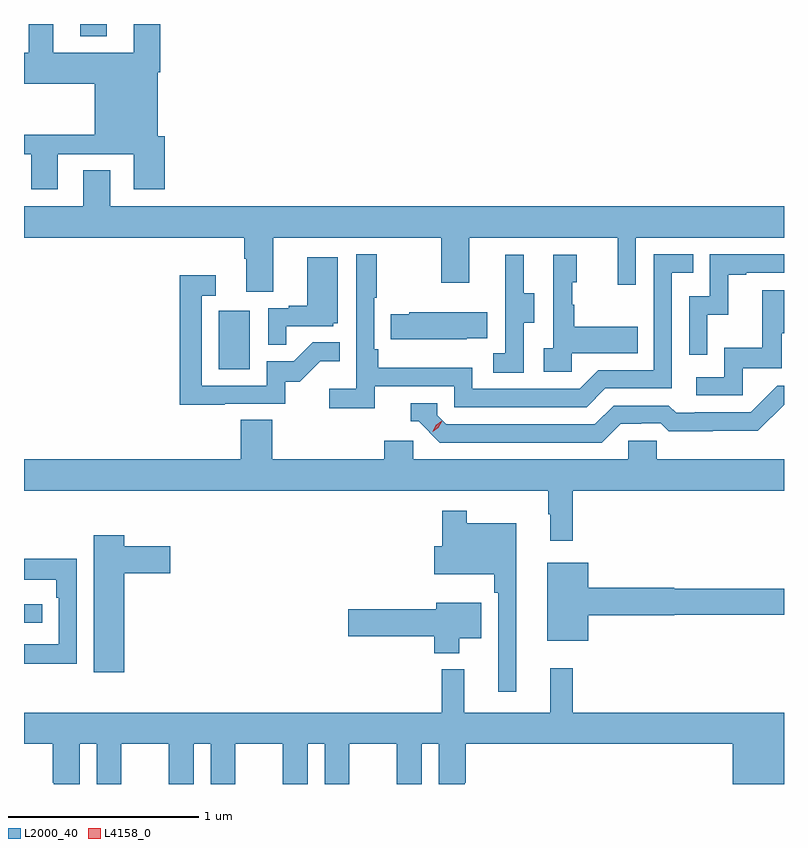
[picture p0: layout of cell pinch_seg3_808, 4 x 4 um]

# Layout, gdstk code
import gdstk
lib = gdstk.Library(unit=1e-6, precision=1e-09)
def R(c, l, rs):  # rectangles x0, y0, x1, y1
    for r in rs: c.add(gdstk.rectangle(r[:2], r[2:], *l))
def P(c, l, *ps):  # polygons
    for p in ps: c.add(gdstk.Polygon(p, *l))
L2000_40 = (2000, 40)
L4158_0 = (4158, 0)

pinch_seg3_808 = lib.new_cell('pinch_seg3_808')
R(pinch_seg3_808, L2000_40, [(885.13,721.533,885.226,721.629), (886.154,722.868,886.318,723.175), (885.425,724.619,885.565,724.684)])
P(pinch_seg3_808, L2000_40, [(885.307,723.999),(885.707,723.999),(885.707,723.813),(885.872,723.813),(885.872,724.092),(885.835,724.092),(885.835,724.43),(885.848,724.43),(885.848,724.684),(885.707,724.684),(885.707,724.534),(885.283,724.534),(885.283,724.684),(885.155,724.684),(885.155,724.534),(885.13,724.534),(885.13,724.37),(885.503,724.37),(885.503,724.1),(885.13,724.1),(885.13,723.999),(885.167,723.999),(885.167,723.813),(885.307,723.813)],
  [(886.441,723.56),(887.326,723.56),(887.326,723.321),(887.473,723.321),(887.473,723.56),(888.254,723.56),(888.254,723.312),(888.351,723.312),(888.351,723.56),(889.13,723.56),(889.13,723.724),(885.583,723.724),(885.583,723.914),(885.443,723.914),(885.443,723.724),(885.13,723.724),(885.13,723.56),(886.289,723.56),(886.289,723.448),(886.301,723.448),(886.301,723.274),(886.441,723.274)],
  [(886.976,722.778),(887.394,722.778),(887.394,722.667),(888.091,722.667),(888.19,722.766),(888.54,722.766),(888.54,723.375),(888.653,723.375),(888.653,723.471),(888.444,723.471),(888.444,722.862),(888.153,722.862),(888.054,722.763),(887.49,722.763),(887.49,722.875),(886.994,722.875),(886.994,722.971),(886.974,722.971),(886.974,723.244),(886.987,723.244),(886.987,723.472),(886.878,723.472),(886.878,722.764),(886.737,722.764),(886.737,722.662),(886.976,722.662)],
  [(888.726,723.155),(888.836,723.155),(888.836,723.363),(888.931,723.363),(888.931,723.375),(889.13,723.375),(889.13,723.471),(888.738,723.471),(888.738,723.252),(888.63,723.252),(888.63,722.943),(888.726,722.943)],
  [(887.76,723.112),(887.815,723.112),(887.815,723.267),(887.761,723.267),(887.761,723.469),(887.663,723.469),(887.663,723.255),(887.664,723.255),(887.664,722.951),(887.601,722.951),(887.601,722.848),(887.76,722.848)],
  [(888.012,722.951),(888.359,722.951),(888.359,723.091),(888.025,723.091),(888.025,723.206),(888.015,723.206),(888.015,723.324),(888.04,723.324),(888.04,723.469),(887.916,723.469),(887.916,722.978),(887.865,722.978),(887.865,722.853),(888.012,722.853)],
  [(886.511,723.093),(886.758,723.093),(886.758,723.108),(886.78,723.108),(886.78,723.457),(886.622,723.457),(886.622,723.202),(886.523,723.202),(886.523,723.189),(886.416,723.189),(886.416,722.995),(886.511,722.995)],
  [(886.187,722.685),(886.506,722.685),(886.506,722.802),(886.582,722.802),(886.689,722.909),(886.793,722.909),(886.793,723.008),(886.649,723.008),(886.551,722.91),(886.407,722.91),(886.407,722.781),(886.065,722.781),(886.065,723.255),(886.138,723.255),(886.138,723.361),(885.949,723.361),(885.949,722.68),(886.187,722.68)],
  [(888.912,722.871),(889.117,722.871),(889.117,723.057),(889.13,723.057),(889.13,723.283),(889.015,723.283),(889.015,722.98),(888.816,722.98),(888.816,722.826),(888.669,722.826),(888.669,722.73),(888.912,722.73)],
  [(887.459,723.029),(887.567,723.029),(887.567,723.166),(887.157,723.166),(887.157,723.156),(887.059,723.156),(887.059,723.026),(887.459,723.026)],
  [(888.271,722.58),(888.378,722.58),(888.378,722.583),(888.481,722.583),(888.523,722.541),(888.756,722.541),(888.756,722.543),(888.992,722.543),(889.13,722.681),(889.13,722.781),(889.095,722.781),(888.954,722.64),(888.661,722.64),(888.661,722.637),(888.562,722.637),(888.523,722.676),(888.234,722.676),(888.135,722.577),(887.352,722.577),(887.304,722.625),(887.304,722.688),(887.165,722.688),(887.165,722.592),(887.208,722.592),(887.319,722.481),(888.172,722.481)],
  [(888.017,722.228),(889.13,722.228),(889.13,722.392),(888.459,722.392),(888.459,722.49),(888.309,722.49),(888.309,722.392),(887.178,722.392),(887.178,722.49),(887.027,722.49),(887.027,722.392),(886.436,722.392),(886.436,722.6),(886.271,722.6),(886.271,722.392),(885.13,722.392),(885.13,722.228),(887.889,722.228),(887.889,722.105),(887.9,722.105),(887.9,721.965),(888.017,721.965)],
  [(887.722,722.056),(887.461,722.056),(887.461,722.122),(887.332,722.122),(887.332,721.935),(887.288,721.935),(887.288,721.787),(887.605,721.787),(887.605,721.691),(887.625,721.691),(887.625,721.17),(887.722,721.17)],
  [(885.658,721.793),(885.901,721.793),(885.901,721.935),(885.658,721.935),(885.658,721.993),(885.497,721.993),(885.497,721.272),(885.658,721.272)],
  [(885.408,721.87),(885.13,721.87),(885.13,721.76),(885.299,721.76),(885.299,721.664),(885.312,721.664),(885.312,721.419),(885.13,721.419),(885.13,721.318),(885.408,721.318)],
  [(888.1,721.571),(888.552,721.571),(888.552,721.576),(889.13,721.576),(889.13,721.712),(888.552,721.712),(888.552,721.718),(888.1,721.718),(888.1,721.849),(887.885,721.849),(887.885,721.439),(888.1,721.439)],
  [(887.422,721.451),(887.536,721.451),(887.536,721.639),(887.3,721.639),(887.3,721.604),(886.836,721.604),(886.836,721.462),(887.288,721.462),(887.288,721.373),(887.422,721.373)],
  [(885.424,720.896),(885.512,720.896),(885.512,720.684),(885.643,720.684),(885.643,720.896),(885.893,720.896),(885.893,720.684),(886.024,720.684),(886.024,720.896),(886.112,720.896),(886.112,720.684),(886.243,720.684),(886.243,720.896),(886.493,720.896),(886.493,720.684),(886.624,720.684),(886.624,720.896),(886.712,720.896),(886.712,720.684),(886.843,720.684),(886.843,720.896),(887.093,720.896),(887.093,720.684),(887.224,720.684),(887.224,720.896),(887.312,720.896),(887.312,720.684),(887.449,720.684),(887.449,720.691),(887.456,720.691),(887.456,720.896),(888.86,720.896),(888.86,720.684),(889.13,720.684),(889.13,721.06),(888.017,721.06),(888.017,721.294),(887.9,721.294),(887.9,721.06),(887.447,721.06),(887.447,721.288),(887.329,721.288),(887.329,721.06),(885.13,721.06),(885.13,720.896),(885.281,720.896),(885.281,720.691),(885.287,720.691),(885.287,720.684),(885.424,720.684)])
P(pinch_seg3_808, L4158_0, [(887.28,722.539),(887.28,722.54),(887.296,722.572),(887.327,722.592),(887.328,722.592),(887.328,722.591),(887.311,722.559),(887.28,722.539)])

lib.write_gds('pinch_seg3_808.gds')
